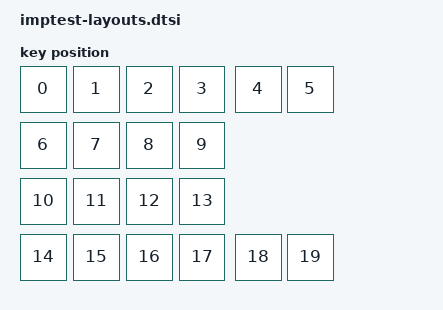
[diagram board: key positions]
#include <physical_layouts.dtsi>

/ {
    physical_layout0: physical_layout_0{
        compatible = "zmk,physical-layout";
        display-name = "Default Layout";
        keys  //                     w   h    x    y     rot    rx    ry
            = <&key_physical_attrs 100 100    0    0       0     0     0>
            , <&key_physical_attrs 100 100  106    0       0     0     0>
            , <&key_physical_attrs 100 100  212    0       0     0     0>
            , <&key_physical_attrs 100 100  318    0       0     0     0>
            , <&key_physical_attrs 100 100  430    0       0     0     0>
            , <&key_physical_attrs 100 100  534    0       0     0     0>
            , <&key_physical_attrs 100 100    0  112       0     0     0>
            , <&key_physical_attrs 100 100  106  112       0     0     0>
            , <&key_physical_attrs 100 100  212  112       0     0     0>
            , <&key_physical_attrs 100 100  318  112       0     0     0>
            , <&key_physical_attrs 100 100    0  224       0     0     0>
            , <&key_physical_attrs 100 100  106  224       0     0     0>
            , <&key_physical_attrs 100 100  212  224       0     0     0>
            , <&key_physical_attrs 100 100  318  224       0     0     0>
            , <&key_physical_attrs 100 100    0  336       0     0     0>
            , <&key_physical_attrs 100 100  106  336       0     0     0>
            , <&key_physical_attrs 100 100  212  336       0     0     0>
            , <&key_physical_attrs 100 100  318  336       0     0     0>
            , <&key_physical_attrs 100 100  430  336       0     0     0>
            , <&key_physical_attrs 100 100  534  336       0     0     0>
            ;
    };

    position_map {
        compatible = "zmk,physical-layout-position-map";
        complete;
        layout0: layout0 {
            physical-layout = <&physical_layout0>;
            positions
                = <0  1  2  3  4  5>
                , <6  7  8  9>
                , <10 11 12 12>
                , <14 15 16 17 18 19>;
        };
    };
};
